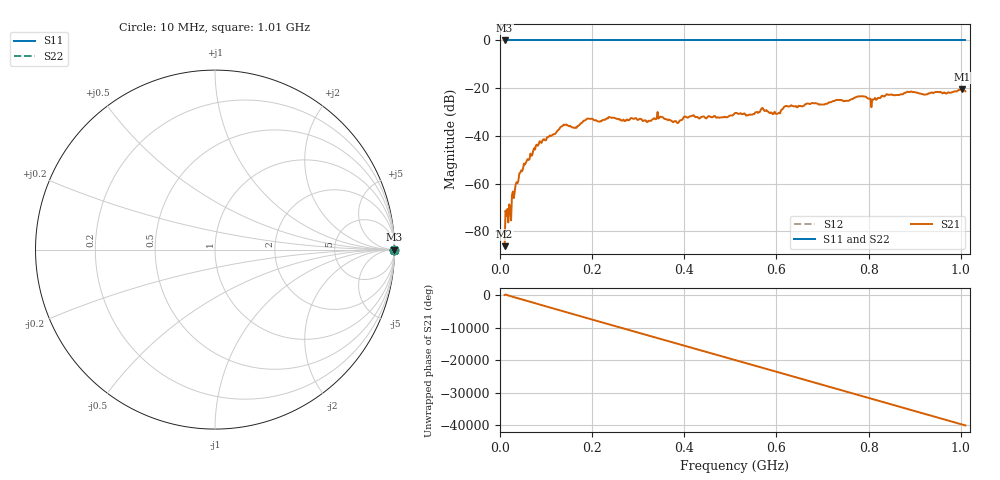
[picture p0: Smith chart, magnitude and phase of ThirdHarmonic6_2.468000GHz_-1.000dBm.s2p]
! 8/17/2025 4:31:25 AM
! C:\ANRITSUVNA\TEMP\TEMP.S2P
! CHANNEL.1
! TR.MEASUREMENT
! RAW.DATA
! RF.CORRECTION.OFF
! AVERAGING.OFF
! IF.BANDWIDTH: 5KHZ
! SWEEPTYPE:  FREQ.SWEEP(Linear)
! Reference Plane Port Info
! PORT:  PORT1  PORT2
! DISTANCE:  0  m  0  m
! TIME:  0  s  0  s
! PHASE.OFFSET:  0  deg.  0  deg.
! LOSS:  0  dB  0  dB
! REF.LOSS:  0  dB  0  dB
! REF.FREQ:  0  Hz  0  Hz
! Power Info
! POWER:  -20  dBm  -20  dBm
! EFF.POWER:  -20  dBm  -20  dBm
! SOURCE.ATTEN:  0  dB  0  dB
! TEST.ATTEN:  0  dB  0  dB
# GHZ S RI R 50.0
! FREQ.GHZ  S11RE  S11IM  S21RE  S21IM  S12RE  S12IM  S22RE  S22IM
!; PortSelection: Port_12
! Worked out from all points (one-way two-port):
!   501 points, 10 MHz to 1.01 GHz, reference 50 ohm
!   highest |S21| = -20.48 dB at 1.002 GHz (marker M1); lowest = -86.2 dB at 10 MHz (marker M2)
!   lowest |S11| = 0.0 dB at 10 MHz (marker M3)
!   |S11| at or under -10 dB: nowhere
!   |S22| runs from 0.0 to 0.0 dB; largest |S21 - S12| = 1.1
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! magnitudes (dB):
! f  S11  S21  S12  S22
! 10 MHz  0.0  -86.2  0.0  0.0
! 22 MHz  0.0  -70.5  0.0  0.0
! 46 MHz  0.0  -54.4  0.0  0.0
! 76 MHz  0.0  -45.7  0.0  0.0
! 136 MHz  0.0  -35.8  0.0  0.0
! 162 MHz  0.0  -36.7  0.0  0.0
! 178 MHz  0.0  -34.4  0.0  0.0
! 240 MHz  0.0  -32.3  0.0  0.0
! 322 MHz  0.0  -33.7  0.0  0.0
! 344 MHz  0.0  -32.7  0.0  0.0
! 384 MHz  0.0  -34.5  0.0  0.0
! 416 MHz  0.0  -31.7  0.0  0.0
! 510 MHz  0.0  -30.4  0.0  0.0
! 570 MHz  0.0  -28.3  0.0  0.0
! 604 MHz  0.0  -30.4  0.0  0.0
! 620 MHz  0.0  -27.5  0.0  0.0
! 678 MHz  0.0  -26.2  0.0  0.0
! 782 MHz  0.0  -23.5  0.0  0.0
! 808 MHz  0.0  -24.7  0.0  0.0
! 844 MHz  0.0  -22.8  0.0  0.0
! 1.002 GHz  0.0  -20.5  0.0  0.0
! 1.01 GHz  0.0  -21.2  0.0  0.0
